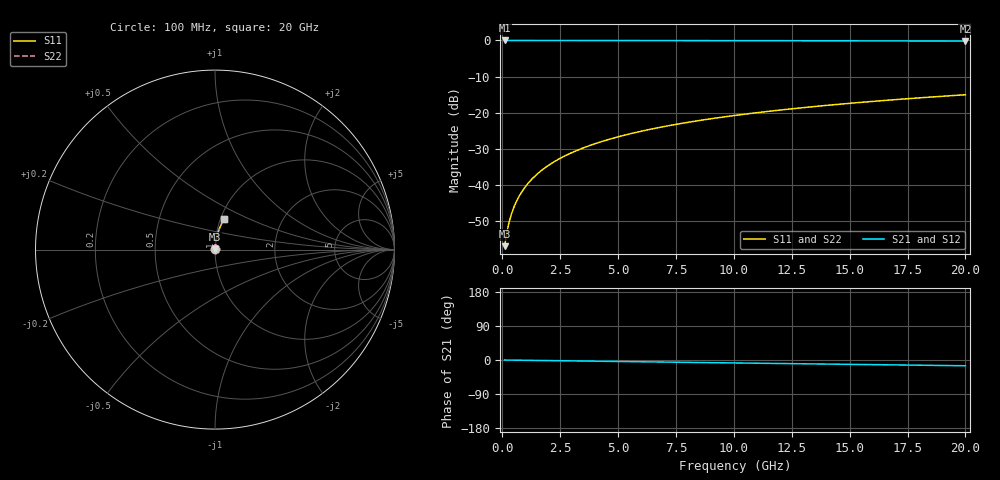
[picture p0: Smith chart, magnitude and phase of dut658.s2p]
! Touchstone file exported from HFSS 2026.1.0
!  File:  C:/ffzhzh/LocalFiles/Ansys_Project_Files/temp_train_TMRDL_658_1783009674_55676.aedt
!  Generated:  12:29:31 AM Jul  3, 2026
!  Design:  TMRDL
!  Project:  temp_train_TMRDL_658_1783009674_55676
! Variables:
!  h_bsmrdl = 2um
!  h_ox = 20um
!  h_rdl = 5um
!  h_sub = 80um
!  h_tmrdl = 3.65um
!  h_tsv = 80um
!  h_via = 3um
!  l_bsmrdl = 300um
!  l_sub = 562.24um
!  l_tmrdl = 162.24um
!  m_sub = 200um
!  pitch = 52.57um
!  r_tsv = 6um
!  s_tmrdl = 10um
!  w_bsmrdl = 18um
!  w_sub = 500um
!  w_tmrdl = 19.11um
!  x_tsv_center1 = 171.795um
!  x_tsv_center2 = 489.795um
!  x_tsv_center3 = 671.145um
!  x_tsv_center4 = 989.145um
!  x_tsv_center5 = 1170.495um
!  x_tsv_center6 = 1488.495um
# GHz S MA R 50.000000
! Terminal data exported
! Port[1] = TM_RDL1_1_T1
! Port[2] = TM_RDL1_1_T2
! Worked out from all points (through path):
!   200 points, 100 MHz to 20 GHz, reference 50 ohm
!   highest |S21| = -0.01 dB at 100 MHz (marker M1); lowest = -0.2 dB at 20 GHz (marker M2)
!   group delay of S21, straight-line fit = 2.12 ps
!   lowest |S11| = -56.9 dB at 100 MHz (marker M3), VSWR 1.00, Z = 50.1 + j0.0988 ohm
!   |S11| at or under -10 dB: start of sweep to end of sweep
!   |S22| runs from -56.9 to -15.0 dB; largest |S21 - S12| = 3.1e-15
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0.1  0.001421 43.9  0.999 -0.1  0.999 -0.1  0.001421 43.9
! Gamma 0 0 0 0
! Port Impedance 50 0 50 0
0.2  0.002224 61.5  0.9989 -0.2  0.9989 -0.2  0.002224 61.5
0.3  0.003106 69.1  0.9989 -0.2  0.9989 -0.2  0.003106 69.1
0.4  0.004004 73.3  0.9989 -0.3  0.9989 -0.3  0.004004 73.3
0.5  0.004909 76.0  0.9988 -0.4  0.9988 -0.4  0.004909 76.0
0.6  0.005818 77.9  0.9988 -0.5  0.9988 -0.5  0.005818 77.9
0.8  0.007646 80.3  0.9988 -0.6  0.9988 -0.6  0.007646 80.3
1.1  0.01041 82.3  0.9987 -0.9  0.9987 -0.9  0.01041 82.3
1.5  0.0141 83.6  0.9986 -1.2  0.9986 -1.2  0.0141 83.6
1.8  0.01688 84.1  0.9985 -1.4  0.9985 -1.4  0.01688 84.1
2.1  0.01965 84.4  0.9984 -1.7  0.9984 -1.7  0.01965 84.4
2.7  0.0252 84.6  0.9982 -2.1  0.9982 -2.1  0.0252 84.6
3.5  0.03258 84.5  0.9979 -2.7  0.9979 -2.7  0.03258 84.5
4.2  0.039 84.2  0.9975 -3.3  0.9975 -3.3  0.039 84.2
5  0.04632 83.8  0.9971 -3.9  0.9971 -3.9  0.04632 83.8
5.9  0.0545 83.3  0.9965 -4.6  0.9965 -4.6  0.0545 83.3
6.8  0.06263 82.7  0.9958 -5.3  0.9958 -5.3  0.06263 82.7
8.3  0.07609 81.7  0.9946 -6.4  0.9946 -6.4  0.07609 81.7
10.1  0.09208 80.4  0.9929 -7.8  0.9929 -7.8  0.09208 80.4
13.4  0.121 78.1  0.9893 -10.3  0.9893 -10.3  0.121 78.1
16.7  0.1493 75.8  0.985 -12.8  0.985 -12.8  0.1493 75.8
20  0.1771 73.4  0.9801 -15.2  0.9801 -15.2  0.1771 73.4
